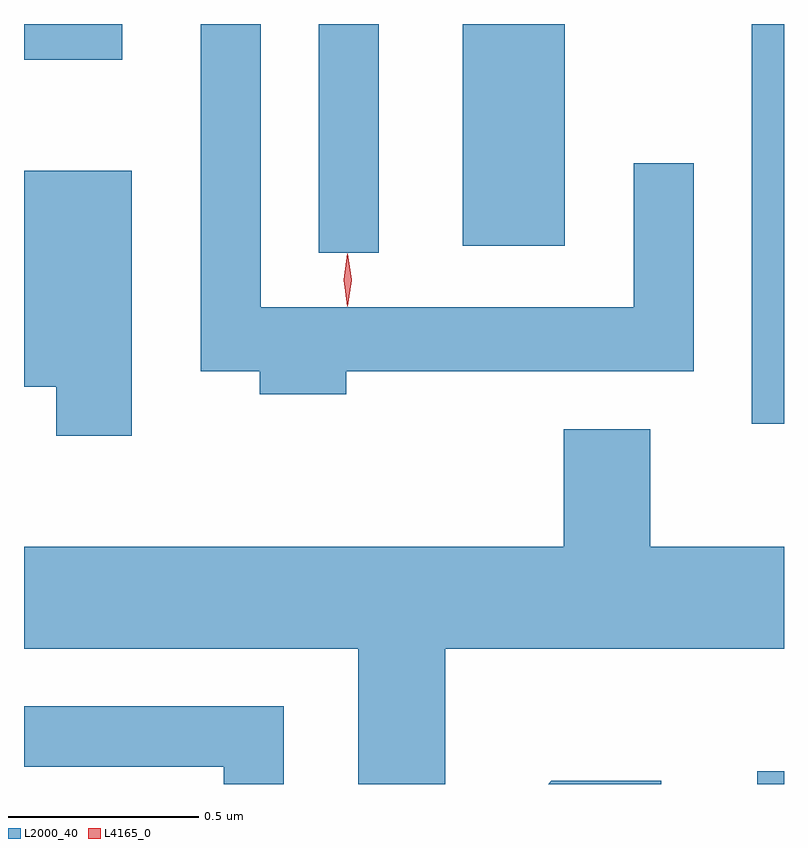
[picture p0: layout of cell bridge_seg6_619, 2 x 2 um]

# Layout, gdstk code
import gdstk
lib = gdstk.Library(unit=1e-6, precision=1e-09)
def R(c, l, rs):  # rectangles x0, y0, x1, y1
    for r in rs: c.add(gdstk.rectangle(r[:2], r[2:], *l))
def P(c, l, *ps):  # polygons
    for p in ps: c.add(gdstk.Polygon(p, *l))
L2000_40 = (2000, 40)
L4165_0 = (4165, 0)

bridge_seg6_619 = lib.new_cell('bridge_seg6_619')
R(bridge_seg6_619, L2000_40, [(490.571,1600.74,490.641,1600.774), (490.556,1601.688,490.641,1602.74), (489.416,1602.138,489.574,1602.74), (489.796,1602.156,490.064,1602.74), (488.641,1602.646,488.899,1602.74)])
P(bridge_seg6_619, L2000_40, [(489.489,1601.826),(490.404,1601.826),(490.404,1602.373),(490.246,1602.373),(490.246,1601.994),(489.264,1601.994),(489.264,1602.74),(489.106,1602.74),(489.106,1601.826),(489.261,1601.826),(489.261,1601.766),(489.489,1601.766)],
  [(488.924,1602.354),(488.641,1602.354),(488.641,1601.786),(488.726,1601.786),(488.726,1601.656),(488.924,1601.656)],
  [(489.749,1601.096),(490.641,1601.096),(490.641,1601.364),(490.289,1601.364),(490.289,1601.674),(490.061,1601.674),(490.061,1601.364),(488.641,1601.364),(488.641,1601.096),(489.521,1601.096),(489.521,1600.74),(489.749,1600.74)],
  [(489.324,1600.944),(488.641,1600.944),(488.641,1600.786),(489.166,1600.786),(489.166,1600.74),(489.324,1600.74)],
  [(490.318,1600.749),(490.029,1600.749),(490.02,1600.74),(490.318,1600.74)])
P(bridge_seg6_619, L4165_0, [(489.492,1602),(489.483,1602.066),(489.492,1602.133),(489.493,1602.133),(489.493,1602.133),(489.503,1602.066),(489.493,1602),(489.493,1602)],
  [(489.492,1601.997),(489.483,1602.067),(489.492,1602.136),(489.493,1602.136),(489.493,1602.136),(489.503,1602.067),(489.493,1601.997),(489.493,1601.997)])

lib.write_gds('bridge_seg6_619.gds')
